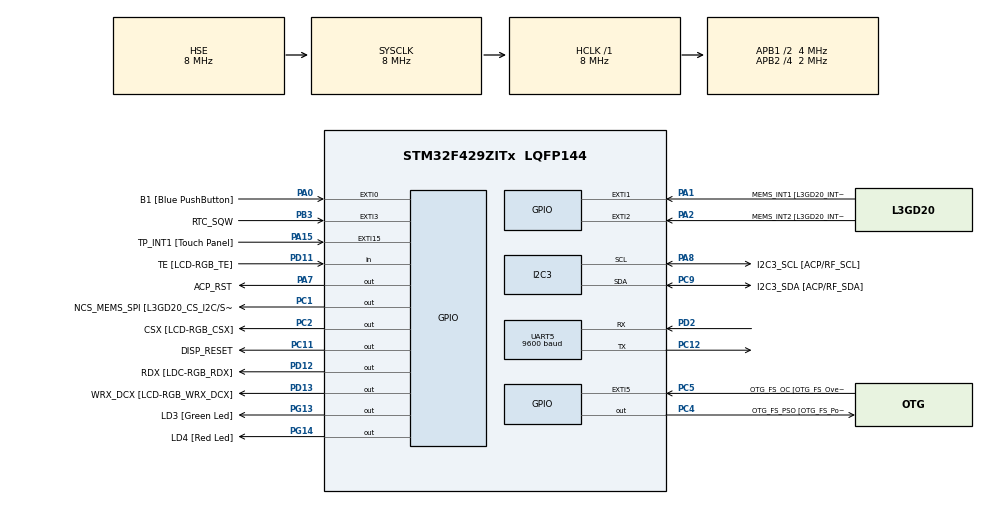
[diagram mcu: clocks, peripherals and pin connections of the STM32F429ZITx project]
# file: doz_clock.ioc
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Mcu.Family=STM32F4
Mcu.Name=STM32F429ZITx
Mcu.Package=LQFP144
NVIC.EXTI0_IRQn=true\:0\:0\:false\:false\:true\:true\:true\:true
NVIC.EXTI3_IRQn=true\:0\:0\:false\:false\:true\:true\:true\:true
NVIC.PriorityGroup=NVIC_PRIORITYGROUP_0
NVIC.TIM6_DAC_IRQn=true\:0\:0\:false\:false\:true\:true\:true\:true
NVIC.UART4_IRQn=true\:0\:0\:false\:false\:true\:true\:true\:true
PA0/WKUP.GPIO_Label=B1 [Blue PushButton]
PA0/WKUP.GPIO_ModeDefaultEXTI=GPIO_MODE_IT_RISING
PA0/WKUP.GPIO_PuPd=GPIO_NOPULL
PA0/WKUP.Signal=GPXTI0
PA1.GPIO_Label=MEMS_INT1 [L3GD20_INT1]
PA1.GPIO_ModeDefaultEXTI=GPIO_MODE_EVT_RISING
PA1.GPIO_PuPd=GPIO_NOPULL
PA1.Signal=GPXTI1
PA10.GPIO_Label=STLINK_TX [STM32F103CBT6_PA2]
PA10.Signal=USART1_RX
PA11.GPIO_Label=R4
PA11.GPIO_Mode=GPIO_MODE_AF_PP
PA11.GPIO_PuPd=GPIO_NOPULL
PA11.GPIO_Speed=GPIO_SPEED_FREQ_LOW
PA11.Signal=LTDC_R4
PA12.GPIO_Label=R5
PA12.GPIO_Mode=GPIO_MODE_AF_PP
PA12.GPIO_PuPd=GPIO_NOPULL
PA12.GPIO_Speed=GPIO_SPEED_FREQ_LOW
PA12.Signal=LTDC_R5
PA13.GPIO_Label=SWDIO
PA13.Signal=SYS_JTMS-SWDIO
PA14.GPIO_Label=SWCLK
PA14.Signal=SYS_JTCK-SWCLK
PA15.GPIO_Label=TP_INT1 [Touch Panel]
PA15.GPIO_ModeDefaultEXTI=GPIO_MODE_EVT_RISING
PA15.GPIO_PuPd=GPIO_NOPULL
PA15.Signal=GPXTI15
PA2.GPIO_Label=MEMS_INT2 [L3GD20_INT2]
PA2.GPIO_ModeDefaultEXTI=GPIO_MODE_EVT_RISING
PA2.GPIO_PuPd=GPIO_NOPULL
PA2.Signal=GPXTI2
PA3.GPIO_Label=B5
PA3.GPIO_Mode=GPIO_MODE_AF_PP
PA3.GPIO_PuPd=GPIO_NOPULL
PA3.GPIO_Speed=GPIO_SPEED_FREQ_LOW
PA3.Signal=LTDC_B5
PA4.GPIO_Label=VSYNC
PA4.GPIO_Mode=GPIO_MODE_AF_PP
PA4.GPIO_PuPd=GPIO_NOPULL
PA4.GPIO_Speed=GPIO_SPEED_FREQ_LOW
PA4.Signal=LTDC_VSYNC
PA6.GPIO_Label=G2
PA6.GPIO_Mode=GPIO_MODE_AF_PP
PA6.GPIO_PuPd=GPIO_NOPULL
PA6.GPIO_Speed=GPIO_SPEED_FREQ_LOW
PA6.Signal=LTDC_G2
PA7.GPIO_Label=ACP_RST
PA7.GPIO_Mode=GPIO_MODE_OUTPUT_PP
PA7.GPIO_PuPd=GPIO_NOPULL
PA7.GPIO_Speed=GPIO_SPEED_FREQ_LOW
PA7.Signal=GPIO_Output
PA8.GPIO_Label=I2C3_SCL [ACP/RF_SCL]
PA8.GPIO_Mode=GPIO_MODE_AF_OD
PA8.GPIO_PuPd=GPIO_NOPULL
PA8.GPIO_Speed=GPIO_SPEED_FREQ_LOW
PA8.Mode=I2C
PA8.Signal=I2C3_SCL
PA9.GPIO_Label=STLINK_RX [STM32F103CBT6_PA3]
PA9.Signal=USART1_TX
PB10.GPIO_Label=G4
PB10.GPIO_Mode=GPIO_MODE_AF_PP
PB10.GPIO_PuPd=GPIO_NOPULL
PB10.GPIO_Speed=GPIO_SPEED_FREQ_LOW
PB10.Signal=LTDC_G4
PB11.GPIO_Label=G5
PB11.GPIO_Mode=GPIO_MODE_AF_PP
PB11.GPIO_PuPd=GPIO_NOPULL
PB11.GPIO_Speed=GPIO_SPEED_FREQ_LOW
PB11.Signal=LTDC_G5
PB12.GPIO_Label=OTG_HS_ID
PB12.GPIO_Mode=GPIO_MODE_AF_PP
PB12.GPIO_PuPd=GPIO_NOPULL
PB12.GPIO_Speed=GPIO_SPEED_FREQ_LOW
PB12.Signal=USB_OTG_HS_ID
PB13.GPIO_Label=VBUS_HS
PB13.GPIO_Mode=GPIO_MODE_INPUT
PB13.GPIO_PuPd=GPIO_NOPULL
PB13.Signal=USB_OTG_HS_VBUS
PB14.GPIO_Label=OTG_HS_DM
PB14.GPIO_Mode=GPIO_MODE_AF_PP
PB14.GPIO_PuPd=GPIO_NOPULL
PB14.GPIO_Speed=GPIO_SPEED_FREQ_LOW
PB14.Signal=USB_OTG_HS_DM
PB15.GPIO_Label=OTG_HS_DP
PB15.GPIO_Mode=GPIO_MODE_AF_PP
PB15.GPIO_PuPd=GPIO_NOPULL
PB15.GPIO_Speed=GPIO_SPEED_FREQ_LOW
PB15.Signal=USB_OTG_HS_DP
PB3.GPIO_Label=RTC_SQW
PB3.GPIO_ModeDefaultEXTI=GPIO_MODE_IT_FALLING
PB3.GPIO_PuPd=GPIO_PULLUP
PB3.Signal=GPXTI3
PB5.GPIO_Label=SDCKE1
PB5.GPIO_Mode=GPIO_MODE_AF_PP
PB5.GPIO_PuPd=GPIO_NOPULL
PB5.GPIO_Speed=GPIO_SPEED_FREQ_VERY_HIGH
PB5.Signal=FMC_SDCKE1
PB6.GPIO_Label=SDNE1 [SDRAM_CS]
PB6.GPIO_Mode=GPIO_MODE_AF_PP
PB6.GPIO_PuPd=GPIO_NOPULL
PB6.GPIO_Speed=GPIO_SPEED_FREQ_VERY_HIGH
PB6.Signal=FMC_SDNE1
PB8.GPIO_Label=B6
PB8.GPIO_Mode=GPIO_MODE_AF_PP
PB8.GPIO_PuPd=GPIO_NOPULL
PB8.GPIO_Speed=GPIO_SPEED_FREQ_LOW
PB8.Signal=LTDC_B6
PB9.GPIO_Label=B7
PB9.GPIO_Mode=GPIO_MODE_AF_PP
PB9.GPIO_PuPd=GPIO_NOPULL
PB9.GPIO_Speed=GPIO_SPEED_FREQ_LOW
PB9.Signal=LTDC_B7
PC0.GPIO_Label=SDNWE
PC0.GPIO_Mode=GPIO_MODE_AF_PP
PC0.GPIO_PuPd=GPIO_NOPULL
PC0.GPIO_Speed=GPIO_SPEED_FREQ_VERY_HIGH
PC0.Signal=FMC_SDNWE
PC1.GPIO_Label=NCS_MEMS_SPI [L3GD20_CS_I2C/SPI]
PC1.GPIO_Mode=GPIO_MODE_OUTPUT_PP
PC1.GPIO_PuPd=GPIO_NOPULL
PC1.GPIO_Speed=GPIO_SPEED_FREQ_LOW
PC1.Signal=GPIO_Output
PC10.Signal=LTDC_R2
PC11.GPIO_Label=DISP_RESET
PC11.Signal=GPIO_Output
PC11.GPIO_Label=DISP_RESET
PC11.Signal=GPIO_Output
PC12.Mode=Asynchronous
PC12.Signal=UART5_TX
PC14/OSC32_IN.GPIO_Label=PC14-OSC32_IN
PC14/OSC32_IN.Signal=RCC_OSC32_IN
PC15/OSC32_OUT.GPIO_Label=PC15-OSC32_OUT
PC15/OSC32_OUT.Signal=RCC_OSC32_OUT
PC2.GPIO_Label=CSX [LCD-RGB_CSX]
PC2.GPIO_Mode=GPIO_MODE_OUTPUT_PP
PC2.GPIO_PuPd=GPIO_NOPULL
PC2.GPIO_Speed=GPIO_SPEED_FREQ_LOW
PC2.Signal=GPIO_Output
PC4.GPIO_Label=OTG_FS_PSO [OTG_FS_PowerSwitchOn]
PC4.GPIO_Mode=GPIO_MODE_OUTPUT_PP
PC4.GPIO_PuPd=GPIO_NOPULL
PC4.GPIO_Speed=GPIO_SPEED_FREQ_LOW
PC4.Signal=GPIO_Output
PC5.GPIO_Label=OTG_FS_OC [OTG_FS_OverCurrent]
PC5.GPIO_ModeDefaultEXTI=GPIO_MODE_EVT_RISING
PC5.Signal=GPXTI5
PC6.GPIO_Label=HSYNC
PC6.GPIO_Mode=GPIO_MODE_AF_PP
PC6.GPIO_PuPd=GPIO_NOPULL
PC6.GPIO_Speed=GPIO_SPEED_FREQ_LOW
PC6.Signal=LTDC_HSYNC
PC7.GPIO_Label=G6
PC7.GPIO_Mode=GPIO_MODE_AF_PP
PC7.GPIO_PuPd=GPIO_NOPULL
PC7.GPIO_Speed=GPIO_SPEED_FREQ_LOW
PC7.Signal=LTDC_G6
PC9.GPIO_Label=I2C3_SDA [ACP/RF_SDA]
PC9.GPIO_Mode=GPIO_MODE_AF_OD
PC9.GPIO_PuPd=GPIO_NOPULL
PC9.GPIO_Speed=GPIO_SPEED_FREQ_LOW
PC9.Mode=I2C
PC9.Signal=I2C3_SDA
PD0.GPIO_Label=D2
PD0.GPIO_Mode=GPIO_MODE_AF_PP
PD0.GPIO_PuPd=GPIO_NOPULL
PD0.GPIO_Speed=GPIO_SPEED_FREQ_VERY_HIGH
PD0.Signal=FMC_D2_DA2
PD1.GPIO_Label=D3
PD1.GPIO_Mode=GPIO_MODE_AF_PP
PD1.GPIO_PuPd=GPIO_NOPULL
PD1.GPIO_Speed=GPIO_SPEED_FREQ_VERY_HIGH
PD1.Signal=FMC_D3_DA3
PD10.GPIO_Label=D15
PD10.GPIO_Mode=GPIO_MODE_AF_PP
PD10.GPIO_PuPd=GPIO_NOPULL
PD10.GPIO_Speed=GPIO_SPEED_FREQ_VERY_HIGH
PD10.Signal=FMC_D15_DA15
PD11.GPIO_Label=TE [LCD-RGB_TE]
PD11.GPIO_Mode=GPIO_MODE_INPUT
PD11.GPIO_PuPd=GPIO_NOPULL
PD11.Signal=GPIO_Input
PD12.GPIO_Label=RDX [LDC-RGB_RDX]
PD12.GPIO_Mode=GPIO_MODE_OUTPUT_PP
PD12.GPIO_PuPd=GPIO_NOPULL
PD12.GPIO_Speed=GPIO_SPEED_FREQ_LOW
PD12.Signal=GPIO_Output
PD13.GPIO_Label=WRX_DCX [LCD-RGB_WRX_DCX]
PD13.GPIO_Mode=GPIO_MODE_OUTPUT_PP
PD13.GPIO_PuPd=GPIO_NOPULL
PD13.GPIO_Speed=GPIO_SPEED_FREQ_LOW
PD13.Signal=GPIO_Output
PD14.GPIO_Label=D0
PD14.GPIO_Mode=GPIO_MODE_AF_PP
PD14.GPIO_PuPd=GPIO_NOPULL
PD14.GPIO_Speed=GPIO_SPEED_FREQ_VERY_HIGH
PD14.Signal=FMC_D0_DA0
PD15.GPIO_Label=D1
PD15.GPIO_Mode=GPIO_MODE_AF_PP
PD15.GPIO_PuPd=GPIO_NOPULL
PD15.GPIO_Speed=GPIO_SPEED_FREQ_VERY_HIGH
PD15.Signal=FMC_D1_DA1
PD2.Mode=Asynchronous
PD2.Signal=UART5_RX
PD3.GPIO_Label=G7
PD3.GPIO_Mode=GPIO_MODE_AF_PP
PD3.GPIO_PuPd=GPIO_NOPULL
PD3.GPIO_Speed=GPIO_SPEED_FREQ_LOW
PD3.Signal=LTDC_G7
PD6.GPIO_Label=B2
PD6.GPIO_Mode=GPIO_MODE_AF_PP
PD6.GPIO_PuPd=GPIO_NOPULL
PD6.GPIO_Speed=GPIO_SPEED_FREQ_LOW
PD6.Signal=LTDC_B2
PD8.GPIO_Label=D13
PD8.GPIO_Mode=GPIO_MODE_AF_PP
PD8.GPIO_PuPd=GPIO_NOPULL
PD8.GPIO_Speed=GPIO_SPEED_FREQ_VERY_HIGH
PD8.Signal=FMC_D13_DA13
PD9.GPIO_Label=D14
PD9.GPIO_Mode=GPIO_MODE_AF_PP
PD9.GPIO_PuPd=GPIO_NOPULL
PD9.GPIO_Speed=GPIO_SPEED_FREQ_VERY_HIGH
PD9.Signal=FMC_D14_DA14
PE0.GPIO_Label=NBL0 [SDRAM_LDQM]
PE0.GPIO_Mode=GPIO_MODE_AF_PP
PE0.GPIO_PuPd=GPIO_NOPULL
PE0.GPIO_Speed=GPIO_SPEED_FREQ_VERY_HIGH
PE0.Signal=FMC_NBL0
PE1.GPIO_Label=NBL1 [SDRAM_UDQM]
PE1.GPIO_Mode=GPIO_MODE_AF_PP
PE1.GPIO_PuPd=GPIO_NOPULL
PE1.GPIO_Speed=GPIO_SPEED_FREQ_VERY_HIGH
PE1.Signal=FMC_NBL1
PE11.GPIO_Label=D8
PE11.GPIO_Mode=GPIO_MODE_AF_PP
PE11.GPIO_PuPd=GPIO_NOPULL
PE11.GPIO_Speed=GPIO_SPEED_FREQ_VERY_HIGH
PE11.Signal=FMC_D8_DA8
PE12.GPIO_Label=D9
PE12.GPIO_Mode=GPIO_MODE_AF_PP
PE12.GPIO_PuPd=GPIO_NOPULL
PE12.GPIO_Speed=GPIO_SPEED_FREQ_VERY_HIGH
PE12.Signal=FMC_D9_DA9
PE13.GPIO_Label=D10
PE13.GPIO_Mode=GPIO_MODE_AF_PP
PE13.GPIO_PuPd=GPIO_NOPULL
PE13.GPIO_Speed=GPIO_SPEED_FREQ_VERY_HIGH
PE13.Signal=FMC_D10_DA10
PE14.GPIO_Label=D11
PE14.GPIO_Mode=GPIO_MODE_AF_PP
PE14.GPIO_PuPd=GPIO_NOPULL
PE14.GPIO_Speed=GPIO_SPEED_FREQ_VERY_HIGH
PE14.Signal=FMC_D11_DA11
PE15.GPIO_Label=D12
PE15.GPIO_Mode=GPIO_MODE_AF_PP
PE15.GPIO_PuPd=GPIO_NOPULL
PE15.GPIO_Speed=GPIO_SPEED_FREQ_VERY_HIGH
PE15.Signal=FMC_D12_DA12
PF0.GPIO_Label=A0
PF0.GPIO_Mode=GPIO_MODE_AF_PP
PF0.GPIO_PuPd=GPIO_NOPULL
PF0.GPIO_Speed=GPIO_SPEED_FREQ_VERY_HIGH
PF0.Signal=FMC_A0
PF1.GPIO_Label=A1
PF1.GPIO_Mode=GPIO_MODE_AF_PP
PF1.GPIO_PuPd=GPIO_NOPULL
PF1.GPIO_Speed=GPIO_SPEED_FREQ_VERY_HIGH
PF1.Signal=FMC_A1
PF10.GPIO_Label=ENABLE [LCD-RGB_ENABLE]
PF10.GPIO_Mode=GPIO_MODE_AF_PP
PF10.GPIO_PuPd=GPIO_NOPULL
PF10.GPIO_Speed=GPIO_SPEED_FREQ_LOW
PF10.Signal=LTDC_DE
PF2.GPIO_Label=A2
PF2.GPIO_Mode=GPIO_MODE_AF_PP
PF2.GPIO_PuPd=GPIO_NOPULL
PF2.GPIO_Speed=GPIO_SPEED_FREQ_VERY_HIGH
PF2.Signal=FMC_A2
PF3.GPIO_Label=A3
PF3.GPIO_Mode=GPIO_MODE_AF_PP
PF3.GPIO_PuPd=GPIO_NOPULL
PF3.GPIO_Speed=GPIO_SPEED_FREQ_VERY_HIGH
PF3.Signal=FMC_A3
PF4.GPIO_Label=A4
PF4.GPIO_Mode=GPIO_MODE_AF_PP
PF4.GPIO_PuPd=GPIO_NOPULL
PF4.GPIO_Speed=GPIO_SPEED_FREQ_VERY_HIGH
PF4.Signal=FMC_A4
PF5.GPIO_Label=A5
PF5.GPIO_Mode=GPIO_MODE_AF_PP
PF5.GPIO_PuPd=GPIO_NOPULL
PF5.GPIO_Speed=GPIO_SPEED_FREQ_VERY_HIGH
PF5.Signal=FMC_A5
PF7.GPIO_Label=SPI5_SCK [L3GD20_SCL/SPC]
PF7.GPIO_Mode=GPIO_MODE_AF_PP
PF7.GPIO_PuPd=GPIO_NOPULL
PF7.GPIO_Speed=GPIO_SPEED_FREQ_LOW
PF7.Signal=SPI5_SCK
PF8.GPIO_Label=SPI5_MISO [L3GD20_SDO]
PF8.GPIO_Mode=GPIO_MODE_AF_PP
PF8.GPIO_PuPd=GPIO_NOPULL
PF8.GPIO_Speed=GPIO_SPEED_FREQ_LOW
PF8.Signal=SPI5_MISO
PF9.GPIO_Label=SPI5_MOSI [L3GD20_SDA/SDI/SDO]
PF9.GPIO_Mode=GPIO_MODE_AF_PP
PF9.GPIO_PuPd=GPIO_NOPULL
PF9.GPIO_Speed=GPIO_SPEED_FREQ_LOW
PF9.Signal=SPI5_MOSI
PG10.GPIO_Label=G3
PG10.GPIO_Mode=GPIO_MODE_AF_PP
PG10.GPIO_PuPd=GPIO_NOPULL
PG10.GPIO_Speed=GPIO_SPEED_FREQ_LOW
PG10.Signal=LTDC_G3
PG11.GPIO_Label=B3
PG11.GPIO_Mode=GPIO_MODE_AF_PP
PG11.GPIO_PuPd=GPIO_NOPULL
PG11.GPIO_Speed=GPIO_SPEED_FREQ_LOW
PG11.Signal=LTDC_B3
PG12.GPIO_Label=B4
PG12.GPIO_Mode=GPIO_MODE_AF_PP
PG12.GPIO_PuPd=GPIO_NOPULL
PG12.GPIO_Speed=GPIO_SPEED_FREQ_LOW
PG12.Signal=LTDC_B4
PG13.GPIO_Label=LD3 [Green Led]
PG13.GPIO_Mode=GPIO_MODE_OUTPUT_PP
PG13.GPIO_PuPd=GPIO_NOPULL
PG13.GPIO_Speed=GPIO_SPEED_FREQ_LOW
PG13.Signal=GPIO_Output
PG14.GPIO_Label=LD4 [Red Led]
PG14.GPIO_Mode=GPIO_MODE_OUTPUT_PP
PG14.GPIO_PuPd=GPIO_NOPULL
PG14.GPIO_Speed=GPIO_SPEED_FREQ_LOW
PG14.Signal=GPIO_Output
PG15.GPIO_Label=SDNCAS
PG15.GPIO_Mode=GPIO_MODE_AF_PP
PG15.GPIO_PuPd=GPIO_NOPULL
PG15.GPIO_Speed=GPIO_SPEED_FREQ_VERY_HIGH
PG15.Signal=FMC_SDNCAS
PG4.GPIO_Label=BA0
PG4.GPIO_Mode=GPIO_MODE_AF_PP
PG4.GPIO_PuPd=GPIO_NOPULL
PG4.GPIO_Speed=GPIO_SPEED_FREQ_VERY_HIGH
PG4.Signal=FMC_A14_BA0
PG5.GPIO_Label=BA1
PG5.GPIO_Mode=GPIO_MODE_AF_PP
PG5.GPIO_PuPd=GPIO_NOPULL
PG5.GPIO_Speed=GPIO_SPEED_FREQ_VERY_HIGH
PG5.Signal=FMC_A15_BA1
PG6.GPIO_Label=R7
PG6.GPIO_Mode=GPIO_MODE_AF_PP
PG6.GPIO_PuPd=GPIO_NOPULL
PG6.GPIO_Speed=GPIO_SPEED_FREQ_LOW
PG6.Signal=LTDC_R7
PG7.GPIO_Label=DOTCLK [LCT-RGB_DOTCLK]
PG7.GPIO_Mode=GPIO_MODE_AF_PP
PG7.GPIO_PuPd=GPIO_NOPULL
PG7.GPIO_Speed=GPIO_SPEED_FREQ_LOW
PG7.Signal=LTDC_CLK
PG8.GPIO_Label=SDCLK
PG8.GPIO_Mode=GPIO_MODE_AF_PP
PG8.GPIO_PuPd=GPIO_NOPULL
PG8.GPIO_Speed=GPIO_SPEED_FREQ_VERY_HIGH
PG8.Signal=FMC_SDCLK
PH0/OSC_IN.GPIO_Label=PH0-OSC_IN
PH0/OSC_IN.Mode=HSE-External-Oscillator
PH0/OSC_IN.Signal=RCC_OSC_IN
PH1/OSC_OUT.GPIO_Label=PH1-OSC_OUT
PH1/OSC_OUT.Mode=HSE-External-Oscillator
PH1/OSC_OUT.Signal=RCC_OSC_OUT
ProjectManager.HeapSize=0x200
ProjectManager.StackSize=0x400
ProjectManager.TargetToolchain=STM32CubeIDE
RCC.48MHZClocksFreq_Value=14285714.285714285
RCC.AHBFreq_Value=8000000
RCC.APB1CLKDivider=RCC_HCLK_DIV2
RCC.APB1Freq_Value=4000000
RCC.APB1TimFreq_Value=8000000
RCC.APB2CLKDivider=RCC_HCLK_DIV4
RCC.APB2Freq_Value=2000000
RCC.APB2TimFreq_Value=4000000
RCC.CortexFreq_Value=8000000
RCC.HCLKFreq_Value=8000000
RCC.HSE_VALUE=8000000
RCC.HSI_VALUE=16000000
RCC.LSE_VALUE=32768
RCC.PLLM=8
RCC.PLLN=50
RCC.PLLP=RCC_PLLP_DIV4
RCC.PLLQ=7
RCC.PLLSAIN=50
RCC.SYSCLKFreq_VALUE=8000000
RCC.SYSCLKSource=RCC_SYSCLKSOURCE_HSE
RCC.VCOOutputFreq_Value=100000000
SH.FMC_A0.0=FMC_A0
SH.FMC_A1.0=FMC_A1
SH.FMC_A14_BA0.0=FMC_BA0
SH.FMC_A15_BA1.0=FMC_BA1
SH.FMC_A2.0=FMC_A2
SH.FMC_A3.0=FMC_A3
SH.FMC_A4.0=FMC_A4
SH.FMC_A5.0=FMC_A5
SH.FMC_D0_DA0.0=FMC_D0
SH.FMC_D10_DA10.0=FMC_D10
SH.FMC_D11_DA11.0=FMC_D11
SH.FMC_D12_DA12.0=FMC_D12
SH.FMC_D13_DA13.0=FMC_D13
SH.FMC_D14_DA14.0=FMC_D14
SH.FMC_D15_DA15.0=FMC_D15
SH.FMC_D1_DA1.0=FMC_D1
SH.FMC_D2_DA2.0=FMC_D2
SH.FMC_D3_DA3.0=FMC_D3
SH.FMC_D8_DA8.0=FMC_D8
SH.FMC_D9_DA9.0=FMC_D9
SH.FMC_NBL0.0=FMC_NBL0
SH.FMC_NBL1.0=FMC_NBL1
SH.FMC_SDCLK.0=FMC_SDCLK
SH.FMC_SDNCAS.0=FMC_SDNCAS
SH.FMC_SDNWE.0=FMC_SDNWE
TIM6.Period=1335
TIM6.Prescaler=999
UART5.BaudRate=9600
UART5.VirtualMode=Asynchronous
VP_TIM6_VS_ClockSourceINT.Mode=Enable_Timer
board=STM32F429I-DISC1

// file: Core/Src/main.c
/* USER CODE BEGIN Header */
/**
  ******************************************************************************
  * @file           : main.c
  * @brief          : Main program body
  ******************************************************************************
  * @attention
  *
  * Copyright (c) 2023 STMicroelectronics.
  * All rights reserved.
  *
  * This software is licensed under terms that can be found in the LICENSE file
  * in the root directory of this software component.
  * If no LICENSE file comes with this software, it is provided AS-IS.
  *
  ******************************************************************************
  */
/* USER CODE END Header */
#include "main.h"
#include "i2c.h"
#include "tim.h"
#include "usart.h"
#include "gpio.h"

/* USER CODE BEGIN Includes */

#include "doz_clock.h"
#include "display.h"
#include "i2c-lcd.h"
#include "i2c-rtc.h"
#include "rtc.h"
#include "uart-display.h"

/* USER CODE END Includes */

/* USER CODE BEGIN PV */
DozClock clock;
Rtc ds3231;
Gps neo6m;

volatile uint8_t debounce_flag = 0;

static void lcd_clear_workaround(void);

/* USER CODE END PV */

void SystemClock_Config(void);

int main(void)
{

  /* MCU Configuration--------------------------------------------------------*/

  /* Reset of all peripherals, Initializes the Flash interface and the Systick. */
  HAL_Init();

  /* Configure the system clock */
  SystemClock_Config();

  /* Initialize all configured peripherals */
  MX_GPIO_Init();
  MX_I2C3_Init();
  MX_TIM6_Init();
  MX_UART5_Init();
  /* USER CODE BEGIN 2 */

    // Display
    Esp8266Driver_Init(&huart5);
    Esp8266Driver_DisplayOn();
    HAL_Delay(1);
    Esp8266Driver_Show(TOP_REGION_ID);
    HAL_Delay(1);
    Esp8266Driver_SetColour(TOP_REGION_ID, MAGENTA_ID);
    HAL_Delay(1);
    Esp8266Driver_SetColour(MID_REGION_ID, CYAN_ID);
    HAL_Delay(1);
    Esp8266Driver_SetColour(BOT_REGION_ID, YELLOW_ID);
    HAL_Delay(1);

    // RTC
    //DS3231_Init(&hi2c3);
//    ds3231.setRtcTime   = DS3231_SetTime;
//    ds3231.getDayOfWeek = DS3231_GetDayOfWeek;
//    ds3231.getDate      = DS3231_GetDate;
//    ds3231.getMonth     = DS3231_GetMonth;
//    ds3231.getYear      = DS3231_GetYear;
//    ds3231.getHour      = DS3231_GetHour;
//    ds3231.getMinute    = DS3231_GetMinute;
//    ds3231.getSecond    = DS3231_GetSecond;
//
//    clock.rtc = &ds3231;

  //DozClock_Init(&clock);

  //HAL_TIM_Base_Start_IT(&htim6);

  /* USER CODE END 2 */

  /* Infinite loop */
  /* USER CODE BEGIN WHILE */

  while (1)
  {
      Esp8266Driver_Show(TOP_REGION_ID);
      HAL_Delay(1000);
      Esp8266Driver_Hide(TOP_REGION_ID);
      HAL_Delay(1000);
      Esp8266Driver_Show(TOP_REGION_ID);
      HAL_Delay(1000);
      Esp8266Driver_Hide(TOP_REGION_ID);
      HAL_Delay(1000);
	  //DozClock_Update(&clock);
    /* USER CODE END WHILE */

  }
}

void SystemClock_Config(void)
{
  RCC_OscInitTypeDef RCC_OscInitStruct = {0};
  RCC_ClkInitTypeDef RCC_ClkInitStruct = {0};

  /** Configure the main internal regulator output voltage
  */
  __HAL_RCC_PWR_CLK_ENABLE();
  __HAL_PWR_VOLTAGESCALING_CONFIG(PWR_REGULATOR_VOLTAGE_SCALE3);

  /** Initializes the RCC Oscillators according to the specified parameters
  * in the RCC_OscInitTypeDef structure.
  */
  RCC_OscInitStruct.OscillatorType = RCC_OSCILLATORTYPE_HSE;
  RCC_OscInitStruct.HSEState = RCC_HSE_ON;
  RCC_OscInitStruct.PLL.PLLState = RCC_PLL_NONE;
  if (HAL_RCC_OscConfig(&RCC_OscInitStruct) != HAL_OK)
  {
    Error_Handler();
  }

  /** Initializes the CPU, AHB and APB buses clocks
  */
  RCC_ClkInitStruct.ClockType = RCC_CLOCKTYPE_HCLK|RCC_CLOCKTYPE_SYSCLK
                              |RCC_CLOCKTYPE_PCLK1|RCC_CLOCKTYPE_PCLK2;
  RCC_ClkInitStruct.SYSCLKSource = RCC_SYSCLKSOURCE_HSE;
  RCC_ClkInitStruct.AHBCLKDivider = RCC_SYSCLK_DIV1;
  RCC_ClkInitStruct.APB1CLKDivider = RCC_HCLK_DIV2;
  RCC_ClkInitStruct.APB2CLKDivider = RCC_HCLK_DIV4;

  if (HAL_RCC_ClockConfig(&RCC_ClkInitStruct, FLASH_LATENCY_0) != HAL_OK)
  {
    Error_Handler();
  }
}

/* USER CODE BEGIN 4 */

static void lcd_clear_workaround(void)
{
	lcd_put_cur(0,0);
	lcd_send_string("           ");
	lcd_put_cur(0,0);
}

/**
 * ISRs
 */

void HAL_GPIO_EXTI_Callback(uint16_t GPIO_Pin)
{
	if(GPIO_Pin == B1_Pin)
	{
		if(!debounce_flag)
		{
			DozClock_BtnPress();
			debounce_flag = 1;
		}
	}
}

void HAL_TIM_PeriodElapsedCallback(TIM_HandleTypeDef *htim)
{
	if(htim == &htim6)
	{
		DozClock_TimerCallback();
		debounce_flag = 0;
	}
}

void HAL_UART_RxCpltCallback(UART_HandleTypeDef *huart)
{
	if(huart == &huart4) GPS_UART_CallBack();
}

/* USER CODE END 4 */

void Error_Handler(void)
{
  __disable_irq();
  while (1)
  {
  }
}
